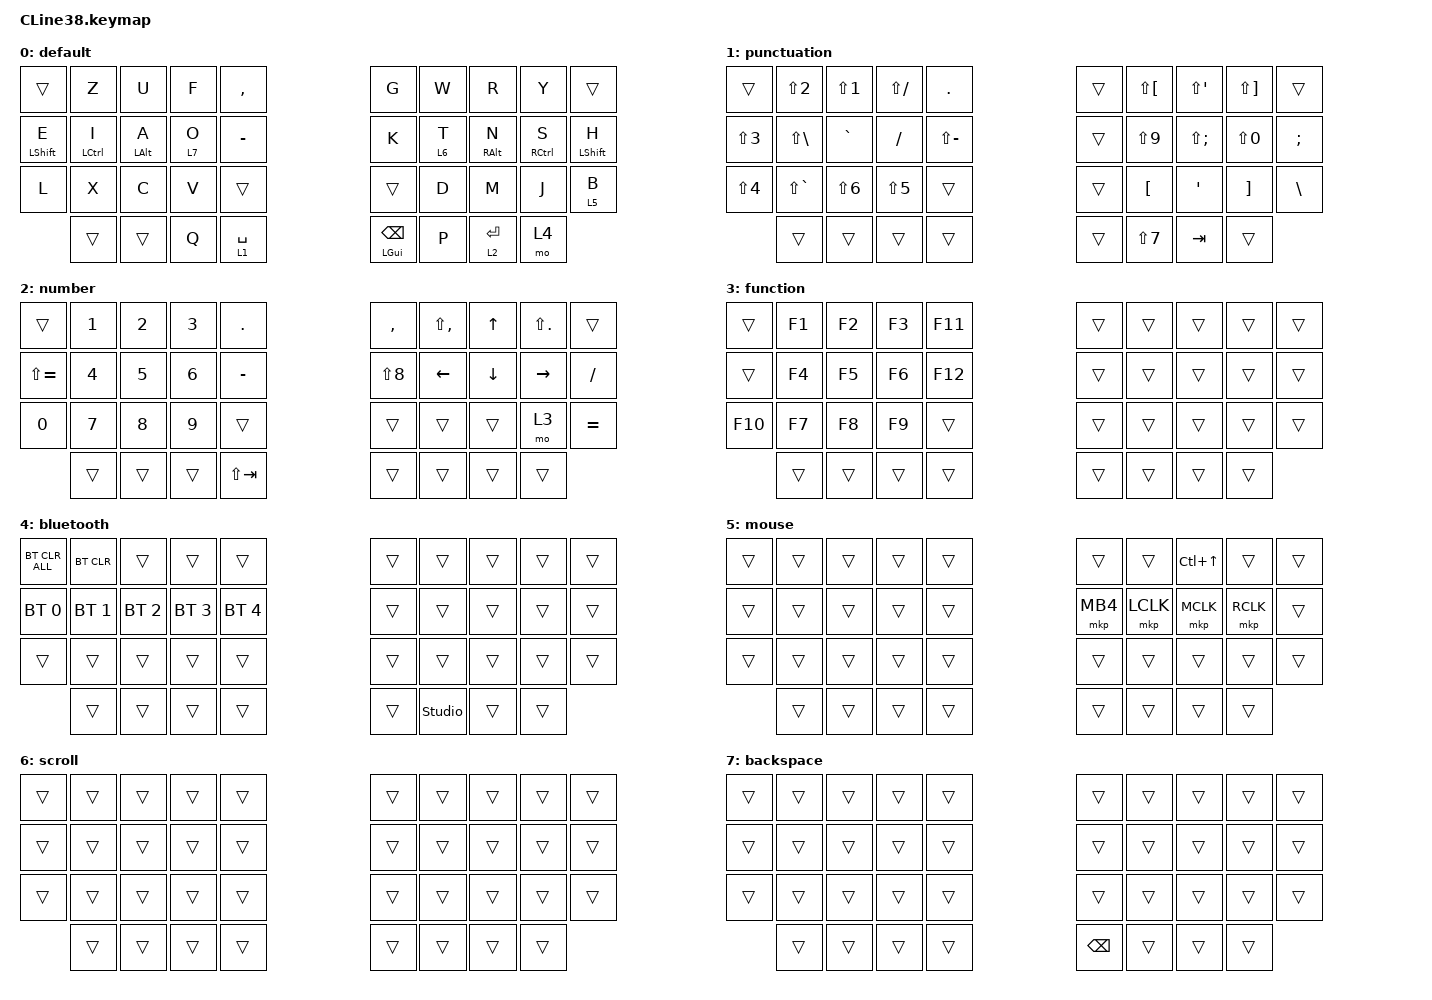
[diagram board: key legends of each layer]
#include <input/processors.dtsi>
#include <dt-bindings/zmk/input_transform.h>
#include <zephyr/dt-bindings/input/input-event-codes.h>
#include <behaviors/runtime_macro.dtsi>
#include <behaviors.dtsi>
#include <dt-bindings/zmk/bt.h>
#include <dt-bindings/zmk/keys.h>
#include <dt-bindings/zmk/pointing.h>

&mt {
    flavor = "balanced";
    quick-tap-ms = <0>;
};

/ {
    combos {
        compatible = "zmk,combos";

        en {
            bindings = <&kp LANGUAGE_2>;
            key-positions = <12 13>;
        };

        ja {
            bindings = <&kp LANGUAGE_1>;
            key-positions = <17 16>;
        };

        esc {
            bindings = <&kp ESCAPE>;
            key-positions = <1 2>;
        };

        screenshot {
            bindings = <&kp LS(LG(NUMBER_4))>;
            key-positions = <11 12 13 10>;
        };
    };

    behaviors {
        lt_mkp: lt_mkp {
            compatible = "zmk,behavior-hold-tap";
            #binding-cells = <2>;
            bindings = <&mo>, <&mkp>;

            tapping-term-ms = <200>;
            quick-tap-ms = <200>;
        };
    };

    keymap {
        compatible = "zmk,keymap";

        default {
            bindings = <
&trans            &kp Z               &kp U           &kp F    &kp COMMA                                     &kp G         &kp W    &kp R            &kp Y                &trans
&mt LEFT_SHIFT E  &mt LEFT_CONTROL I  &mt LEFT_ALT A  &lt 7 O  &kp MINUS                                     &kp K         &lt 6 T  &mt RIGHT_ALT N  &mt RIGHT_CONTROL S  &mt LEFT_SHIFT H
&kp L             &kp X               &kp C           &kp V    &trans                                        &trans        &kp D    &kp M            &kp J                &lt 5 B
                  &trans              &trans          &kp Q    &lt 1 SPACE  &mt LEFT_GUI BACKSPACE    &kp P  &lt 2 RETURN                            &mo 4
            >;
        };

        punctuation {
            bindings = <
&trans            &kp LS(NUMBER_2)   &kp LS(NUMBER_1)  &kp LS(SLASH)     &kp PERIOD                                 &trans   &kp LS(LEFT_BRACKET)  &kp LS(SQT)     &kp LS(RIGHT_BRACKET)  &trans
&kp LS(NUMBER_3)  &kp LS(BACKSLASH)  &kp GRAVE         &kp SLASH         &kp LS(MINUS)                              &trans   &kp LS(NUMBER_9)      &kp LS(SEMI)    &kp LS(NUMBER_0)       &kp SEMICOLON
&kp LS(NUMBER_4)  &kp LS(GRAVE)      &kp LS(NUMBER_6)  &kp LS(NUMBER_5)  &trans                                     &trans   &kp LEFT_BRACKET      &kp APOSTROPHE  &kp RIGHT_BRACKET      &kp BACKSLASH
                  &trans             &trans            &trans            &trans         &trans    &kp LS(NUMBER_7)  &kp TAB                                        &trans
            >;
        };

        number {
            bindings = <
&trans         &kp NUMBER_1  &kp NUMBER_2  &kp NUMBER_3  &kp PERIOD                     &kp COMMA         &kp LS(COMMA)   &kp UP_ARROW    &kp LS(PERIOD)   &trans
&kp LS(EQUAL)  &kp NUMBER_4  &kp NUMBER_5  &kp NUMBER_6  &kp MINUS                      &kp LS(NUMBER_8)  &kp LEFT_ARROW  &kp DOWN_ARROW  &kp RIGHT_ARROW  &kp SLASH
&kp NUMBER_0   &kp NUMBER_7  &kp NUMBER_8  &kp NUMBER_9  &trans                         &trans            &trans          &trans          &mo 3            &kp EQUAL
               &trans        &trans        &trans        &kp LS(TAB)  &trans    &trans  &trans                                            &trans
            >;
        };

        function {
            bindings = <
&trans   &kp F1  &kp F2  &kp F3  &kp F11                    &trans  &trans  &trans  &trans  &trans
&trans   &kp F4  &kp F5  &kp F6  &kp F12                    &trans  &trans  &trans  &trans  &trans
&kp F10  &kp F7  &kp F8  &kp F9  &trans                     &trans  &trans  &trans  &trans  &trans
         &trans  &trans  &trans  &trans   &trans    &trans  &trans                  &trans
            >;
        };

        bluetooth {
            bindings = <
&bt BT_CLR_ALL  &bt BT_CLR    &trans        &trans        &trans                                  &trans  &trans  &trans  &trans  &trans
&bt BT_SEL 0    &bt BT_SEL 1  &bt BT_SEL 2  &bt BT_SEL 3  &bt BT_SEL 4                            &trans  &trans  &trans  &trans  &trans
&trans          &trans        &trans        &trans        &trans                                  &trans  &trans  &trans  &trans  &trans
                &trans        &trans        &trans        &trans        &trans    &studio_unlock  &trans                  &trans
            >;
        };

        mouse {
            bindings = <
&trans  &trans  &trans  &trans  &trans                    &trans    &trans     &kp LC(UP_ARROW)  &trans     &trans
&trans  &trans  &trans  &trans  &trans                    &mkp MB4  &mkp LCLK  &mkp MCLK         &mkp RCLK  &trans
&trans  &trans  &trans  &trans  &trans                    &trans    &trans     &trans            &trans     &trans
        &trans  &trans  &trans  &trans  &trans    &trans  &trans                                 &trans
            >;
        };

        scroll {
            bindings = <
&trans  &trans  &trans  &trans  &trans                    &trans  &trans  &trans  &trans  &trans
&trans  &trans  &trans  &trans  &trans                    &trans  &trans  &trans  &trans  &trans
&trans  &trans  &trans  &trans  &trans                    &trans  &trans  &trans  &trans  &trans
        &trans  &trans  &trans  &trans  &trans    &trans  &trans                  &trans
            >;
        };

        backspace {
            bindings = <
&trans  &trans  &trans  &trans  &trans                           &trans  &trans  &trans  &trans  &trans
&trans  &trans  &trans  &trans  &trans                           &trans  &trans  &trans  &trans  &trans
&trans  &trans  &trans  &trans  &trans                           &trans  &trans  &trans  &trans  &trans
        &trans  &trans  &trans  &trans  &kp BACKSPACE    &trans  &trans                  &trans
            >;
        };
    };
};
